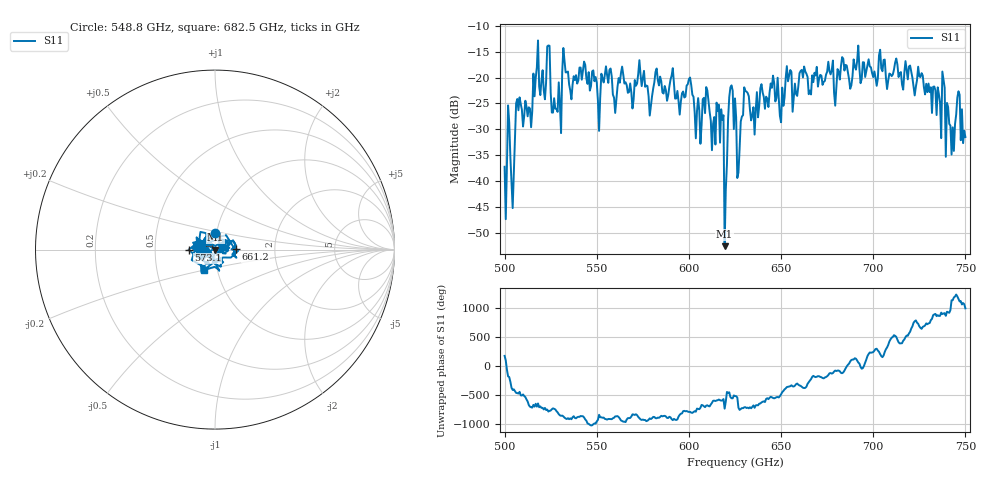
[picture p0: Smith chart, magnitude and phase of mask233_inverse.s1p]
!Created with skrf (http://scikit-rf.org).
# GHz S MA R 50.0
!freq magS11 angS11
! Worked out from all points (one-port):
!   401 points, 500 GHz to 750 GHz, reference 50 ohm
!   lowest |S11| = -52.5 dB at 619.4 GHz (marker M1), VSWR 1.00, Z = 50.2 - j0.0676 ohm
!   |S11| at or under -10 dB: start of sweep to end of sweep
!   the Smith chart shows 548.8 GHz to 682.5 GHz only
!   S11 on the Smith chart (normalised r, x): 548.8 GHz: 0.99, +0.18; 573.1 GHz: 0.74, -0.00; 661.2 GHz: 1.27, +0.01; 682.5 GHz: 0.86, -0.20
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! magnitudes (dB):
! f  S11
! 500 GHz  -37.2
! 502.5 GHz  -28.6
! 504.4 GHz  -45.2
! 507.5 GHz  -26.3
! 513.8 GHz  -26.0
! 516.9 GHz  -20.1
! 523.8 GHz  -13.8
! 526.9 GHz  -24.0
! 531.2 GHz  -19.0
! 548.8 GHz  -20.7
! 562.5 GHz  -21.0
! 573.1 GHz  -16.7
! 593.8 GHz  -22.6
! 616.2 GHz  -25.2
! 619.4 GHz  -52.5
! 620.6 GHz  -36.8
! 622.5 GHz  -21.9
! 625 GHz  -24.0
! 627.5 GHz  -33.7
! 631.2 GHz  -22.7
! 635 GHz  -25.7
! 656.2 GHz  -26.6
! 661.2 GHz  -18.5
! 682.5 GHz  -17.8
! 687.5 GHz  -22.2
! 718.8 GHz  -20.3
! 746.9 GHz  -23.3
! 750 GHz  -31.5
